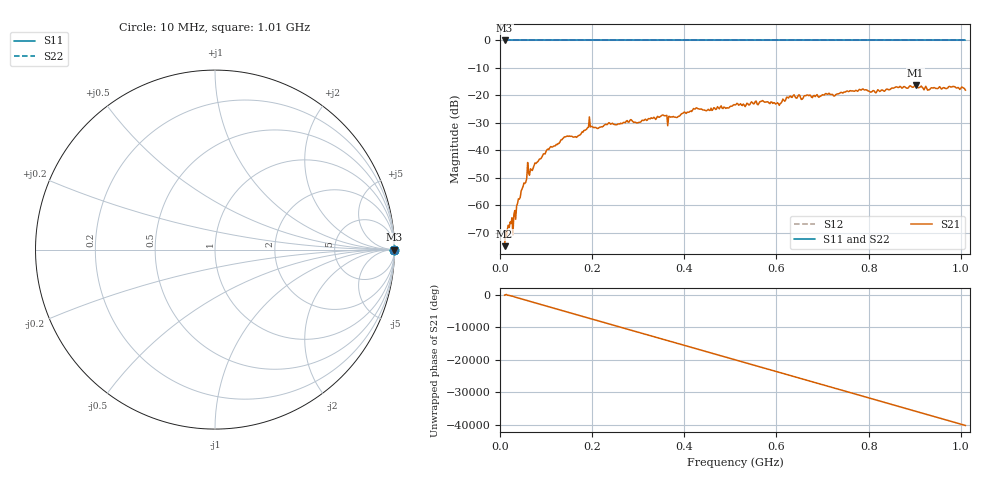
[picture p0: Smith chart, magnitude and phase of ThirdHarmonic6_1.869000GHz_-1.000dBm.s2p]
! 8/16/2025 10:35:45 PM
! C:\ANRITSUVNA\TEMP\TEMP.S2P
! CHANNEL.1
! TR.MEASUREMENT
! RAW.DATA
! RF.CORRECTION.OFF
! AVERAGING.OFF
! IF.BANDWIDTH: 5KHZ
! SWEEPTYPE:  FREQ.SWEEP(Linear)
! Reference Plane Port Info
! PORT:  PORT1  PORT2
! DISTANCE:  0  m  0  m
! TIME:  0  s  0  s
! PHASE.OFFSET:  0  deg.  0  deg.
! LOSS:  0  dB  0  dB
! REF.LOSS:  0  dB  0  dB
! REF.FREQ:  0  Hz  0  Hz
! Power Info
! POWER:  -20  dBm  -20  dBm
! EFF.POWER:  -20  dBm  -20  dBm
! SOURCE.ATTEN:  0  dB  0  dB
! TEST.ATTEN:  0  dB  0  dB
# GHZ S RI R 50.0
! FREQ.GHZ  S11RE  S11IM  S21RE  S21IM  S12RE  S12IM  S22RE  S22IM
!; PortSelection: Port_12
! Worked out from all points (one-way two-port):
!   501 points, 10 MHz to 1.01 GHz, reference 50 ohm
!   highest |S21| = -16.33 dB at 902 MHz (marker M1); lowest = -74.9 dB at 10 MHz (marker M2)
!   lowest |S11| = 0.0 dB at 10 MHz (marker M3)
!   |S11| at or under -10 dB: nowhere
!   |S22| runs from 0.0 to 0.0 dB; largest |S21 - S12| = 1.1
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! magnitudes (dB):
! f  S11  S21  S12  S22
! 10 MHz  0.0  -74.9  0.0  0.0
! 22 MHz  0.0  -66.1  0.0  0.0
! 24 MHz  0.0  -66.6  0.0  0.0
! 32 MHz  0.0  -61.9  0.0  0.0
! 42 MHz  0.0  -57.7  0.0  0.0
! 64 MHz  0.0  -49.0  0.0  0.0
! 106 MHz  0.0  -39.7  0.0  0.0
! 140 MHz  0.0  -35.1  0.0  0.0
! 178 MHz  0.0  -33.3  0.0  0.0
! 196 MHz  0.0  -31.5  0.0  0.0
! 214 MHz  0.0  -31.9  0.0  0.0
! 344 MHz  0.0  -27.9  0.0  0.0
! 368 MHz  0.0  -27.7  0.0  0.0
! 424 MHz  0.0  -24.9  0.0  0.0
! 452 MHz  0.0  -25.0  0.0  0.0
! 510 MHz  0.0  -23.5  0.0  0.0
! 604 MHz  0.0  -22.9  0.0  0.0
! 634 MHz  0.0  -20.7  0.0  0.0
! 678 MHz  0.0  -20.8  0.0  0.0
! 844 MHz  0.0  -18.0  0.0  0.0
! 902 MHz  0.0  -16.3  0.0  0.0
! 1.01 GHz  0.0  -18.1  0.0  0.0
